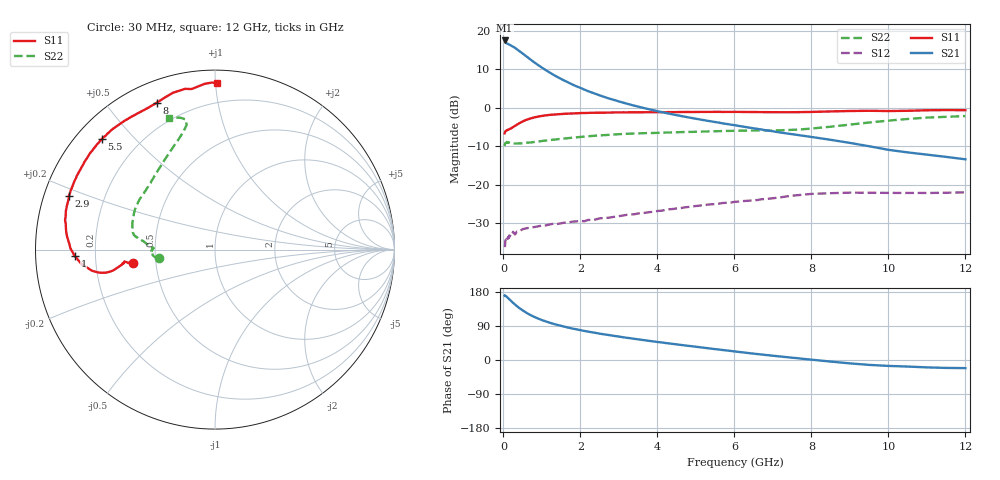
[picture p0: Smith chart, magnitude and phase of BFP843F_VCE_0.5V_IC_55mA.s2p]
! Infineon Technologies  Discrete & RF Semiconductors
! BFP843F
! VCE =  0.5 V,  IC =  55 mA
! Common Emitter S-Parameters:  Aug 2013
# GHz  S  MA  R  50
!  f  S11  S21  S12  S22
! GHz  MAG  ANG  MAG  ANG  MAG  ANG  MAG  ANG
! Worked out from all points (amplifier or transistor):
!   103 points, 30 MHz to 12 GHz, reference 50 ohm
!   highest |S21| = 17.5 dB at 30 MHz (marker M1)
!   |S21| within 3 dB of that: start of sweep to 444.4 MHz
!   unconditionally stable (mu >= 1): start of sweep to end of sweep
!   at 400 MHz: K = 2.25, MAG = 17.2 dB, |S12| = -32.3 dB
!   at 3.7 GHz: K = 2.45, MAG = 6.8 dB, |S12| = -27.3 dB
!   at 12 GHz: K = 2.26, MAG = -2.0 dB, |S12| = -22.0 dB
!   S11 on the Smith chart (normalised r, x): 30 MHz: 0.37, -0.07; 1 GHz: 0.12, -0.02; 2.9 GHz: 0.07, +0.18; 5.5 GHz: 0.07, +0.41; 8 GHz: 0.09, +0.67; 12 GHz: 0.08, +1.01
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0.03  0.4639 -170.9  7.484 169.7  0.0161 25.3  0.3167 -171.4
0.04  0.4793 -171.7  7.25 168.8  0.0158 21.8  0.3363 -172.9
0.05  0.4895 -171.2  7.084 169.5  0.0186 9.8  0.3447 -174.0
0.07  0.5025 -172.1  6.928 168.1  0.0193 20.8  0.3491 -175.5
0.25  0.5597 -169.2  6.21 150.8  0.0243 12.6  0.3444 178.8
0.4  0.6226 -168.1  5.502 138.1  0.0244 16.4  0.3433 178.5
0.5  0.6627 -168.9  5.055 130.9  0.0263 18.1  0.3438 178.7
0.7  0.7229 -172.2  4.237 118.7  0.0275 18.8  0.3528 178.0
0.8  0.747 -173.7  3.888 113.8  0.028 20.0  0.3579 177.6
1  0.781 -177.3  3.315 105.4  0.0293 19.2  0.3686 176.5
1.2  0.8057 179.5  2.867 98.5  0.0303 20.3  0.3788 175.6
1.4  0.8195 176.4  2.508 92.6  0.0307 21.1  0.3885 174.6
1.7  0.8375 172.4  2.104 85.0  0.0321 22.6  0.4024 173.2
2.1  0.8524 167.6  1.719 76.7  0.0333 23.9  0.4202 172.1
2.9  0.8675 159.7  1.248 63.2  0.0382 28.2  0.4487 170.5
4.1  0.8738 148.2  0.879 46.4  0.0457 31.2  0.4719 166.4
5.5  0.8821 135.7  0.65 28.7  0.0557 30.1  0.4936 156.4
6.1  0.881 130.2  0.58 21.5  0.06 28.5  0.5016 151.2
8  0.8802 111.7  0.416 0.9  0.0756 21.2  0.5352 128.1
8.5  0.8935 107.9  0.382 -4.2  0.0772 17.6  0.5651 120.9
10.5  0.911 96.6  0.262 -17.3  0.0778 9.9  0.7126 102.8
12  0.9277 89.2  0.213 -21.4  0.0792 10.0  0.7783 109.2
